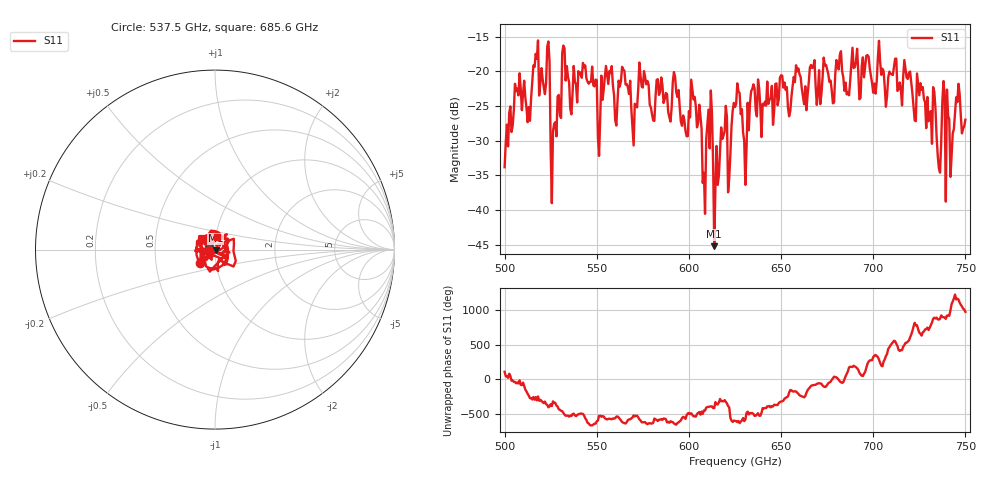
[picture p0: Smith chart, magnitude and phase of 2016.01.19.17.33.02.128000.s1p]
!Created with skrf (http://scikit-rf.org).
# GHz S RI R 50.0
!freq ReS11 ImS11
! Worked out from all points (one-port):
!   401 points, 500 GHz to 750 GHz, reference 50 ohm
!   lowest |S11| = -45.2 dB at 613.8 GHz (marker M1), VSWR 1.01, Z = 50.3 - j0.462 ohm
!   |S11| at or under -10 dB: start of sweep to end of sweep
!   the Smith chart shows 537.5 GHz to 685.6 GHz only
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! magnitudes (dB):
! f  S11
! 500 GHz  -33.8
! 506.9 GHz  -22.5
! 513.1 GHz  -25.1
! 516.9 GHz  -17.5
! 523.1 GHz  -16.4
! 526.2 GHz  -28.6
! 531.2 GHz  -17.4
! 551.9 GHz  -26.7
! 562.5 GHz  -22.2
! 570 GHz  -30.7
! 574.4 GHz  -22.2
! 593.8 GHz  -23.7
! 598.1 GHz  -28.6
! 602.5 GHz  -24.1
! 608.1 GHz  -34.6
! 611.2 GHz  -31.1
! 613.8 GHz  -45.2
! 619.4 GHz  -28.7
! 622.5 GHz  -31.9
! 625 GHz  -25.1
! 630 GHz  -30.0
! 634.4 GHz  -22.5
! 656.2 GHz  -22.1
! 687.5 GHz  -21.3
! 718.8 GHz  -21.1
! 735.6 GHz  -34.0
! 745.6 GHz  -24.4
! 750 GHz  -27.0
